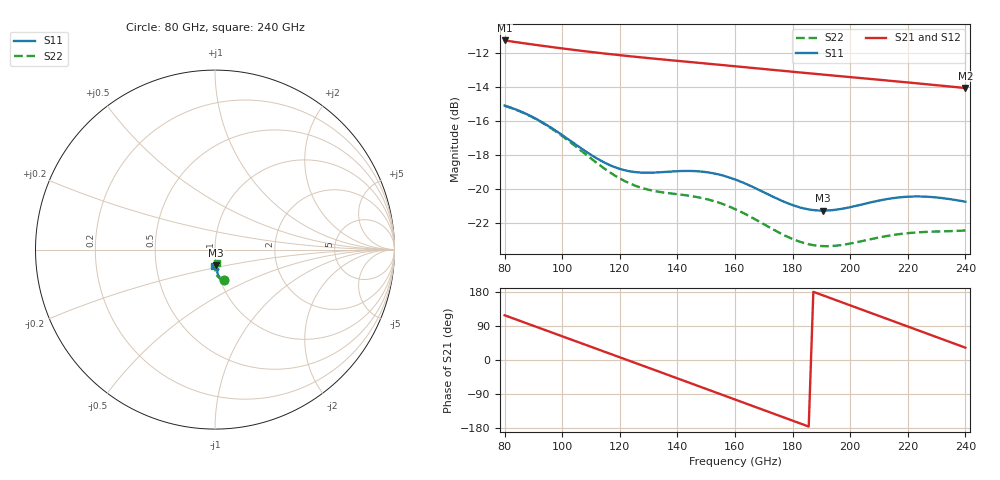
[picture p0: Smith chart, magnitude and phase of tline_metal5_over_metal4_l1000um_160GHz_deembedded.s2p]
! Created with skrf 2.0.1 (http://scikit-rf.org).
# GHz S DB R 50.0
!freq dBS11 angS11 dBS21 angS21 dBS12 angS12 dBS22 angS22
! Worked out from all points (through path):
!   101 points, 80 GHz to 240 GHz, reference 50 ohm
!   highest |S21| = -11.24 dB at 80 GHz (marker M1); lowest = -14.1 dB at 240 GHz (marker M2)
!   group delay of S21, straight-line fit = 7.74 ps
!   lowest |S11| = -21.3 dB at 190.4 GHz (marker M3), VSWR 1.19, Z = 49.9 - j8.64 ohm
!   |S11| at or under -10 dB: start of sweep to end of sweep
!   |S22| runs from -23.4 to -15.1 dB; largest |S21 - S12| = 2.4e-13
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80  -15.09 -73.1  -11.24 118.0  -11.24 118.0  -15.10 -74.2
86.4  -15.49 -76.5  -11.40 100.3  -11.40 100.3  -15.51 -78.1
92.8  -16.05 -79.9  -11.55 82.6  -11.55 82.6  -16.07 -82.1
99.2  -16.74 -82.5  -11.69 64.8  -11.69 64.8  -16.79 -85.6
107.2  -17.68 -84.1  -11.86 42.6  -11.86 42.6  -17.84 -88.4
113.6  -18.36 -83.6  -11.99 24.9  -11.99 24.9  -18.68 -89.0
120  -18.83 -82.1  -12.11 7.1  -12.11 7.1  -19.39 -88.3
126.4  -19.04 -80.5  -12.22 -10.6  -12.22 -10.6  -19.88 -86.9
134.4  -19.02 -79.9  -12.36 -32.9  -12.36 -32.9  -20.20 -85.7
147.2  -18.97 -82.9  -12.56 -68.5  -12.56 -68.5  -20.50 -87.0
153.6  -19.13 -85.5  -12.66 -86.4  -12.66 -86.4  -20.78 -88.7
160  -19.45 -88.0  -12.77 -104.2  -12.77 -104.2  -21.20 -90.4
166.4  -19.91 -89.8  -12.87 -122.1  -12.87 -122.1  -21.75 -91.4
174.4  -20.57 -90.3  -13.00 -144.4  -13.00 -144.4  -22.51 -90.9
180.8  -21.01 -89.1  -13.10 -162.3  -13.10 -162.3  -23.03 -88.9
187.2  -21.26 -87.1  -13.21 179.9  -13.21 179.9  -23.33 -85.9
190.4  -21.29 -86.0  -13.26 171.0  -13.26 171.0  -23.39 -84.4
203.2  -20.96 -83.7  -13.46 135.3  -13.46 135.3  -23.13 -80.2
214.4  -20.57 -85.4  -13.63 104.0  -13.63 104.0  -22.75 -80.1
220.8  -20.46 -87.4  -13.74 86.1  -13.74 86.1  -22.61 -80.8
227.2  -20.48 -89.6  -13.84 68.3  -13.84 68.3  -22.54 -81.7
240  -20.77 -93.1  -14.05 32.5  -14.05 32.5  -22.47 -82.9
